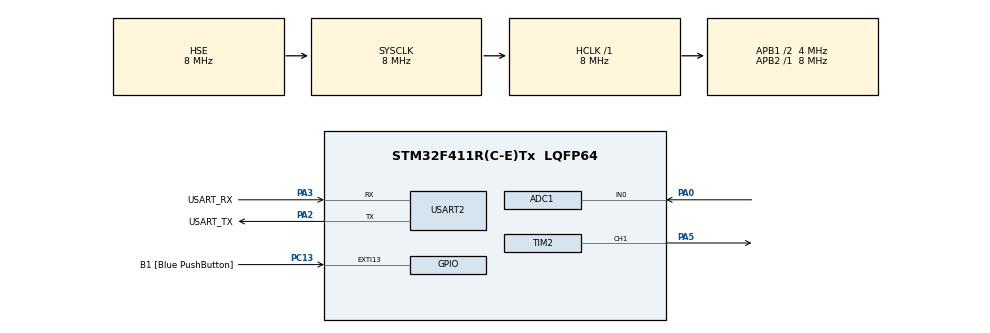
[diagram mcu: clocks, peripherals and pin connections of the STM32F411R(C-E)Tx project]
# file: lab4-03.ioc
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ADC1.Channel-1\#ChannelRegularConversion=ADC_CHANNEL_0
ADC1.NbrOfConversionFlag=1
ADC1.Rank-1\#ChannelRegularConversion=1
ADC1.SamplingTime-1\#ChannelRegularConversion=ADC_SAMPLETIME_3CYCLES
ADC1.master=1
Mcu.Family=STM32F4
Mcu.Name=STM32F411R(C-E)Tx
Mcu.Package=LQFP64
NVIC.PriorityGroup=NVIC_PRIORITYGROUP_0
PA0-WKUP.Signal=ADCx_IN0
PA13.GPIO_Label=TMS
PA13.Mode=Serial_Wire
PA13.Signal=SYS_JTMS-SWDIO
PA14.GPIO_Label=TCK
PA14.Mode=Serial_Wire
PA14.Signal=SYS_JTCK-SWCLK
PA2.GPIO_Label=USART_TX
PA2.Mode=Asynchronous
PA2.Signal=USART2_TX
PA3.GPIO_Label=USART_RX
PA3.Mode=Asynchronous
PA3.Signal=USART2_RX
PA5.Signal=S_TIM2_CH1_ETR
PB3.GPIO_Label=SWO
PB3.Signal=SYS_JTDO-SWO
PC13-ANTI_TAMP.GPIO_Label=B1 [Blue PushButton]
PC13-ANTI_TAMP.GPIO_ModeDefaultEXTI=GPIO_MODE_IT_FALLING
PC13-ANTI_TAMP.Signal=GPXTI13
PC14-OSC32_IN.Mode=LSE-External-Oscillator
PC14-OSC32_IN.Signal=RCC_OSC32_IN
PC15-OSC32_OUT.Mode=LSE-External-Oscillator
PC15-OSC32_OUT.Signal=RCC_OSC32_OUT
PH0\ -\ OSC_IN.Mode=HSE-External-Clock-Source
PH0\ -\ OSC_IN.Signal=RCC_OSC_IN
PH1\ -\ OSC_OUT.Mode=HSE-External-Clock-Source
PH1\ -\ OSC_OUT.Signal=RCC_OSC_OUT
ProjectManager.HeapSize=0x200
ProjectManager.StackSize=0x400
ProjectManager.TargetToolchain=STM32CubeIDE
RCC.48MHZClocksFreq_Value=42000000
RCC.AHBFreq_Value=8000000
RCC.APB1CLKDivider=RCC_HCLK_DIV2
RCC.APB1Freq_Value=4000000
RCC.APB1TimFreq_Value=8000000
RCC.APB2Freq_Value=8000000
RCC.APB2TimFreq_Value=8000000
RCC.CortexFreq_Value=8000000
RCC.FLatency-AdvancedSettings=FLASH_LATENCY_0
RCC.HCLKFreq_Value=8000000
RCC.HSE_VALUE=8000000
RCC.HSI_VALUE=16000000
RCC.PLLN=336
RCC.PLLP=RCC_PLLP_DIV4
RCC.PLLSourceVirtual=RCC_PLLSOURCE_HSE
RCC.SYSCLKFreq_VALUE=8000000
RCC.SYSCLKSource=RCC_SYSCLKSOURCE_HSE
RCC.VCOOutputFreq_Value=168000000
SH.ADCx_IN0.0=ADC1_IN0,IN0
SH.S_TIM2_CH1_ETR.0=TIM2_CH1,PWM Generation1 CH1
TIM2.Channel-PWM\ Generation1\ CH1=TIM_CHANNEL_1
TIM2.Period=99
TIM2.Prescaler=7
USART2.VirtualMode=VM_ASYNC
VP_TIM2_VS_ClockSourceINT.Mode=Internal
board=NUCLEO-F411RE

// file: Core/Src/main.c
/* USER CODE BEGIN Header */
/**
 ******************************************************************************
 * @file           : main.c
 * @brief          : Main program body
 ******************************************************************************
 * @attention
 *
 * Copyright (c) 2024 STMicroelectronics.
 * All rights reserved.
 *
 * This software is licensed under terms that can be found in the LICENSE file
 * in the root directory of this software component.
 * If no LICENSE file comes with this software, it is provided AS-IS.
 *
 ******************************************************************************
 */
/* USER CODE END Header */
#include "main.h"

/* USER CODE BEGIN Includes */
#include <stdio.h>
#include <string.h>
/* USER CODE END Includes */

ADC_HandleTypeDef hadc1;

TIM_HandleTypeDef htim2;

UART_HandleTypeDef huart2;

void SystemClock_Config(void);
static void MX_GPIO_Init(void);
static void MX_USART2_UART_Init(void);
static void MX_ADC1_Init(void);
static void MX_TIM2_Init(void);

int main(void)
{

  /* MCU Configuration--------------------------------------------------------*/

  /* Reset of all peripherals, Initializes the Flash interface and the Systick. */
  HAL_Init();

  /* Configure the system clock */
  SystemClock_Config();

  /* Initialize all configured peripherals */
  MX_GPIO_Init();
  MX_USART2_UART_Init();
  MX_ADC1_Init();
  MX_TIM2_Init();
  /* USER CODE BEGIN 2 */
	int maxBrightness = 0, minBrightness = 9999;

	int adcval = 0;
	char buf[256];

	HAL_TIM_PWM_Start(&htim2, TIM_CHANNEL_1);
  /* USER CODE END 2 */

  /* Infinite loop */
  /* USER CODE BEGIN WHILE */
	while (1) {
		// Start ADC conversion
		HAL_ADC_Start(&hadc1);
		// Wait for 1000ms or when the conversion is finished.
		if (HAL_ADC_PollForConversion(&hadc1, 1000) == HAL_OK) {
			// Read the ADC value
			adcval = HAL_ADC_GetValue(&hadc1);

			maxBrightness = adcval > maxBrightness ? adcval : maxBrightness;
			minBrightness = adcval < minBrightness ? adcval : minBrightness;

			int C = maxBrightness - adcval;
			int P = maxBrightness - minBrightness;
			int dutyCycle = (1.0 - (double) C / P) * 100.0;

			TIM2->CCR1 = dutyCycle;
			sprintf(buf, "Brightness: %d%% (%d - %d - %d)\r\n",
					dutyCycle, minBrightness, adcval, maxBrightness);
			HAL_UART_Transmit(&huart2, buf, strlen(buf), 100);
		}
    /* USER CODE END WHILE */

	}
}

void SystemClock_Config(void)
{
  RCC_OscInitTypeDef RCC_OscInitStruct = {0};
  RCC_ClkInitTypeDef RCC_ClkInitStruct = {0};

  /** Configure the main internal regulator output voltage
  */
  __HAL_RCC_PWR_CLK_ENABLE();
  __HAL_PWR_VOLTAGESCALING_CONFIG(PWR_REGULATOR_VOLTAGE_SCALE1);

  /** Initializes the RCC Oscillators according to the specified parameters
  * in the RCC_OscInitTypeDef structure.
  */
  RCC_OscInitStruct.OscillatorType = RCC_OSCILLATORTYPE_HSE;
  RCC_OscInitStruct.HSEState = RCC_HSE_BYPASS;
  RCC_OscInitStruct.PLL.PLLState = RCC_PLL_NONE;
  if (HAL_RCC_OscConfig(&RCC_OscInitStruct) != HAL_OK)
  {
    Error_Handler();
  }

  /** Initializes the CPU, AHB and APB buses clocks
  */
  RCC_ClkInitStruct.ClockType = RCC_CLOCKTYPE_HCLK|RCC_CLOCKTYPE_SYSCLK
                              |RCC_CLOCKTYPE_PCLK1|RCC_CLOCKTYPE_PCLK2;
  RCC_ClkInitStruct.SYSCLKSource = RCC_SYSCLKSOURCE_HSE;
  RCC_ClkInitStruct.AHBCLKDivider = RCC_SYSCLK_DIV1;
  RCC_ClkInitStruct.APB1CLKDivider = RCC_HCLK_DIV2;
  RCC_ClkInitStruct.APB2CLKDivider = RCC_HCLK_DIV1;

  if (HAL_RCC_ClockConfig(&RCC_ClkInitStruct, FLASH_LATENCY_0) != HAL_OK)
  {
    Error_Handler();
  }
}

static void MX_ADC1_Init(void)
{

  ADC_ChannelConfTypeDef sConfig = {0};

  /** Configure the global features of the ADC (Clock, Resolution, Data Alignment and number of conversion)
  */
  hadc1.Instance = ADC1;
  hadc1.Init.ClockPrescaler = ADC_CLOCK_SYNC_PCLK_DIV2;
  hadc1.Init.Resolution = ADC_RESOLUTION_12B;
  hadc1.Init.ScanConvMode = DISABLE;
  hadc1.Init.ContinuousConvMode = DISABLE;
  hadc1.Init.DiscontinuousConvMode = DISABLE;
  hadc1.Init.ExternalTrigConvEdge = ADC_EXTERNALTRIGCONVEDGE_NONE;
  hadc1.Init.ExternalTrigConv = ADC_SOFTWARE_START;
  hadc1.Init.DataAlign = ADC_DATAALIGN_RIGHT;
  hadc1.Init.NbrOfConversion = 1;
  hadc1.Init.DMAContinuousRequests = DISABLE;
  hadc1.Init.EOCSelection = ADC_EOC_SINGLE_CONV;
  if (HAL_ADC_Init(&hadc1) != HAL_OK)
  {
    Error_Handler();
  }

  /** Configure for the selected ADC regular channel its corresponding rank in the sequencer and its sample time.
  */
  sConfig.Channel = ADC_CHANNEL_0;
  sConfig.Rank = 1;
  sConfig.SamplingTime = ADC_SAMPLETIME_3CYCLES;
  if (HAL_ADC_ConfigChannel(&hadc1, &sConfig) != HAL_OK)
  {
    Error_Handler();
  }

}

static void MX_TIM2_Init(void)
{

  TIM_ClockConfigTypeDef sClockSourceConfig = {0};
  TIM_MasterConfigTypeDef sMasterConfig = {0};
  TIM_OC_InitTypeDef sConfigOC = {0};

  htim2.Instance = TIM2;
  htim2.Init.Prescaler = 7;
  htim2.Init.CounterMode = TIM_COUNTERMODE_UP;
  htim2.Init.Period = 99;
  htim2.Init.ClockDivision = TIM_CLOCKDIVISION_DIV1;
  htim2.Init.AutoReloadPreload = TIM_AUTORELOAD_PRELOAD_DISABLE;
  if (HAL_TIM_Base_Init(&htim2) != HAL_OK)
  {
    Error_Handler();
  }
  sClockSourceConfig.ClockSource = TIM_CLOCKSOURCE_INTERNAL;
  if (HAL_TIM_ConfigClockSource(&htim2, &sClockSourceConfig) != HAL_OK)
  {
    Error_Handler();
  }
  if (HAL_TIM_PWM_Init(&htim2) != HAL_OK)
  {
    Error_Handler();
  }
  sMasterConfig.MasterOutputTrigger = TIM_TRGO_RESET;
  sMasterConfig.MasterSlaveMode = TIM_MASTERSLAVEMODE_DISABLE;
  if (HAL_TIMEx_MasterConfigSynchronization(&htim2, &sMasterConfig) != HAL_OK)
  {
    Error_Handler();
  }
  sConfigOC.OCMode = TIM_OCMODE_PWM1;
  sConfigOC.Pulse = 0;
  sConfigOC.OCPolarity = TIM_OCPOLARITY_HIGH;
  sConfigOC.OCFastMode = TIM_OCFAST_DISABLE;
  if (HAL_TIM_PWM_ConfigChannel(&htim2, &sConfigOC, TIM_CHANNEL_1) != HAL_OK)
  {
    Error_Handler();
  }
  HAL_TIM_MspPostInit(&htim2);

}

static void MX_USART2_UART_Init(void)
{

  huart2.Instance = USART2;
  huart2.Init.BaudRate = 115200;
  huart2.Init.WordLength = UART_WORDLENGTH_8B;
  huart2.Init.StopBits = UART_STOPBITS_1;
  huart2.Init.Parity = UART_PARITY_NONE;
  huart2.Init.Mode = UART_MODE_TX_RX;
  huart2.Init.HwFlowCtl = UART_HWCONTROL_NONE;
  huart2.Init.OverSampling = UART_OVERSAMPLING_16;
  if (HAL_UART_Init(&huart2) != HAL_OK)
  {
    Error_Handler();
  }

}

static void MX_GPIO_Init(void)
{
  GPIO_InitTypeDef GPIO_InitStruct = {0};

  /* GPIO Ports Clock Enable */
  __HAL_RCC_GPIOC_CLK_ENABLE();
  __HAL_RCC_GPIOH_CLK_ENABLE();
  __HAL_RCC_GPIOA_CLK_ENABLE();
  __HAL_RCC_GPIOB_CLK_ENABLE();

  /*Configure GPIO pin : B1_Pin */
  GPIO_InitStruct.Pin = B1_Pin;
  GPIO_InitStruct.Mode = GPIO_MODE_IT_FALLING;
  GPIO_InitStruct.Pull = GPIO_NOPULL;
  HAL_GPIO_Init(B1_GPIO_Port, &GPIO_InitStruct);

}

void Error_Handler(void)
{
	__disable_irq();
	while (1) {
	}
}
